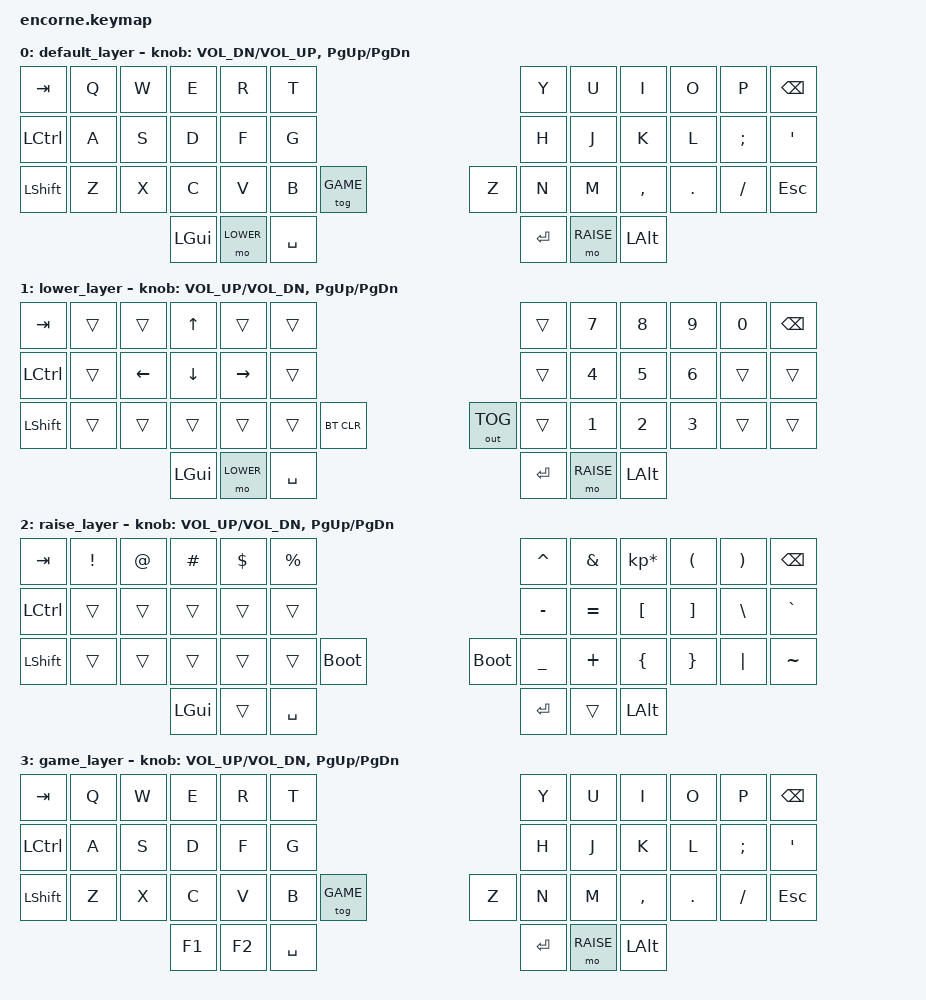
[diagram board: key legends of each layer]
#include <behaviors.dtsi>
#include <dt-bindings/zmk/keys.h>
#include <dt-bindings/zmk/bt.h>
#include <dt-bindings/zmk/outputs.h>


#define BASE 0
#define LOWER 1
#define RAISE 2
#define GAME 3
/ {     combos { 
                compatible = "zmk,combos";
                combo_rusX {
                        timeout-ms = <35>;
                        key-positions = <10 11>; 
                        bindings = <&kp LBKT>;
                };
        };     
        keymap {
//======================================================================================================================================================
                compatible = "zmk,keymap";
                default_layer {
                        bindings = <
// ┌────────┬────────┬────────┬────────┬────────┬────────┐                               ┌────────┬────────┬────────┬────────┬────────┬────────┐
// |  TAB   |  Q     |  W     |  E     |  R     |  T     |                               |  Y     |  U     |  I     |  O     |  P     |  BSPC  |
     &kp TAB  &kp Q    &kp W    &kp E    &kp R    &kp T                                    &kp Y    &kp U    &kp I    &kp O    &kp P   &kp BSPC
// ├────────┼────────┼────────┼────────┼────────┼────────┤                               ├────────┼────────┼────────┼────────┼────────┼────────┤ 
// |  CTRL  |  A     |  S     |  D     |  F     |  G     |                               |  H     |  J     |  K     |  L     |   ;    |  '
   &kp LCTRL  &kp A    &kp S    &kp D    &kp F    &kp G                                    &kp H    &kp J    &kp K    &kp L   &kp SEMI &kp SQT   
// ├────────┼────────┼────────┼────────┼────────┼────────┼────────┐             ┌────────┼────────┼────────┼────────┼────────┼────────┼────────┤
// | SHFT   |  Z     |  X     |  C     |  V     |  B     |  GAME  |             |  Z     |  N     |  M     |  ,     |  .     |  /     | ESC    |
   &kp LSHFT  &kp Z    &kp X    &kp C    &kp V    &kp B   &tog GAME               &kp Z    &kp N    &kp M  &kp COMMA  &kp DOT &kp FSLH &kp  ESC
// └──────────────────────────┼────────┼────────┼────────┼────────┘             └────────┼────────┼────────┼────────┼──────────────────────────┘ 
//                            |  LGUI  | layer1 | SPACE  |                               | RETURN | layer2 | LALT   |
                               &kp LGUI &mo LOWER &kp SPACE                               &kp RET &mo RAISE &kp LALT 
//                            └────────┴────────┴────────┘                               └────────┴────────┴────────┘
                        >;
                        sensor-bindings = <&inc_dec_kp C_VOL_DN C_VOL_UP &inc_dec_kp PG_UP PG_DN>;
                };
//======================================================================================================================================================
                lower_layer {
                        bindings = <
// ┌────────┬────────┬────────┬────────┬────────┬────────┐                               ┌────────┬────────┬────────┬────────┬────────┬────────┐
// |  TAB   |        |        |  UP    |        |        |                               |        |  7     |  8     |  9     |  0     |  BSPC  |
     &kp TAB  &trans   &trans   &kp UP   &trans   &trans                                   &trans   &kp N7   &kp N8   &kp N9   &kp N0  &kp BSPC
// ├────────┼────────┼────────┼────────┼────────┼────────┤                               ├────────┼────────┼────────┼────────┼────────┼────────┤ 
// |  CTRL  |        |  LEFT  |  DOWN  |  RIGHT |        |                               |        |  4     |  5     |  6     |        |        | 
    &kp LCTRL &trans  &kp LEFT &kp DOWN &kp RIGHT   &trans                                 &trans   &kp N4   &kp N5   &kp N6   &trans   &trans   
// ├────────┼────────┼────────┼────────┼────────┼────────┼────────┐             ┌────────┼────────┼────────┼────────┼────────┼────────┼────────┤
// |        |        |        |        |        |        |        |             |        |        |  1     |  2     |  3     |        |        |
    &kp LSHFT &trans   &trans   &trans   &trans    &trans   &bt BT_CLR                 &out OUT_TOG   &trans  &kp N1   &kp N2   &kp N3   &trans   &trans
// └──────────────────────────┼────────┼────────┼────────┼────────┘             └────────┼────────┼────────┼────────┼──────────────────────────┘ 
//                            |  LGUI  | layer1 | SPACE  |                               | RETURN | layer2 | LALT   |
                               &kp LGUI &mo LOWER &kp SPACE                               &kp RET &mo RAISE &kp LALT 
//                            └────────┴────────┴────────┘                               └────────┴────────┴────────┘
                        >;
                        sensor-bindings = <&inc_dec_kp C_VOL_UP C_VOL_DN &inc_dec_kp PG_UP PG_DN>;
                };
//======================================================================================================================================================
                raise_layer {
// -----------------------------------------------------------------------------------------
// |  TAB |  !  |  @  |  #  |  $  |  %  |   |  ^  |  &  |  *  |  (  |  )  | BKSP |
// | CTRL |     |     |     |     |     |   |  -  |  =  |  [  |  ]  |  \  |  `   |
// | SHFT |     |     |     |     |     |   |  _  |  +  |  {  |  }  | "|" |  ~   |
//                    | GUI |     | SPC |   | ENT |     | ALT |
                        bindings = <
   &kp  TAB  &kp EXCL &kp AT &kp HASH &kp DLLR &kp PRCNT   &kp CARET &kp AMPS  &kp KP_MULTIPLY &kp LPAR &kp RPAR &kp BSPC
   &kp LCTRL &trans   &trans &trans   &trans   &trans      &kp MINUS &kp EQUAL &kp LBKT        &kp RBKT &kp BSLH &kp GRAVE
   &kp LSHFT &trans   &trans &trans   &trans   &trans &bootloader &bootloader     &kp UNDER &kp PLUS  &kp LBRC        &kp RBRC &kp PIPE &kp TILDE
                             &kp LGUI &trans   &kp SPACE   &kp RET   &trans    &kp LALT 
                        >;
                        sensor-bindings = <&inc_dec_kp C_VOL_UP C_VOL_DN &inc_dec_kp PG_UP PG_DN>;
                };
                game_layer {
                        bindings = <
// ┌────────┬────────┬────────┬────────┬────────┬────────┐                               ┌────────┬────────┬────────┬────────┬────────┬────────┐
// |  TAB   |  Q     |  W     |  E     |  R     |  T     |                               |  Y     |  U     |  I     |  O     |  P     |  BSPC  |
     &kp TAB  &kp Q    &kp W    &kp E    &kp R    &kp T                                    &kp Y    &kp U    &kp I    &kp O    &kp P   &kp BSPC
// ├────────┼────────┼────────┼────────┼────────┼────────┤                               ├────────┼────────┼────────┼────────┼────────┼────────┤ 
// |  CTRL  |  A     |  S     |  D     |  F     |  G     |                               |  H     |  J     |  K     |  L     |   ;    |  '
   &kp LCTRL  &kp A    &kp S    &kp D    &kp F    &kp G                                    &kp H    &kp J    &kp K    &kp L   &kp SEMI &kp SQT   
// ├────────┼────────┼────────┼────────┼────────┼────────┼────────┐             ┌────────┼────────┼────────┼────────┼────────┼────────┼────────┤
// | SHFT   |  Z     |  X     |  C     |  V     |  B     |  GAME  |             |  Z     |  N     |  M     |  ,     |  .     |  /     | ESC    |
   &kp LSHFT  &kp Z    &kp X    &kp C    &kp V    &kp B   &tog GAME               &kp Z    &kp N    &kp M  &kp COMMA  &kp DOT &kp FSLH &kp  ESC
// └──────────────────────────┼────────┼────────┼────────┼────────┘             └────────┼────────┼────────┼────────┼──────────────────────────┘ 
//                            |  F1    | F2     | SPACE  |                               | RETURN | layer2 | LALT   |
                               &kp F1   &kp F2   &kp SPACE                                &kp RET  &mo RAISE &kp LALT 
//                            └────────┴────────┴────────┘                               └────────┴────────┴────────┘
                        >;
                        sensor-bindings = <&inc_dec_kp C_VOL_UP C_VOL_DN &inc_dec_kp PG_UP PG_DN>;
                };
        };
};
